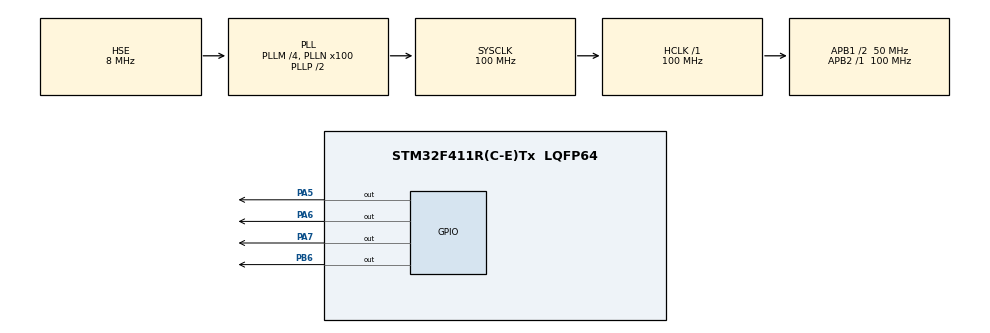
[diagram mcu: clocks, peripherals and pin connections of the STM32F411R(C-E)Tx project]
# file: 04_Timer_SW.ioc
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Mcu.Family=STM32F4
Mcu.Name=STM32F411R(C-E)Tx
Mcu.Package=LQFP64
NVIC.PriorityGroup=NVIC_PRIORITYGROUP_4
PA13.Mode=Serial_Wire
PA13.Signal=SYS_JTMS-SWDIO
PA14.Mode=Serial_Wire
PA14.Signal=SYS_JTCK-SWCLK
PA5.Signal=GPIO_Output
PA6.Signal=GPIO_Output
PA7.Signal=GPIO_Output
PB6.Signal=GPIO_Output
PH0\ -\ OSC_IN.Mode=HSE-External-Oscillator
PH0\ -\ OSC_IN.Signal=RCC_OSC_IN
PH1\ -\ OSC_OUT.Mode=HSE-External-Oscillator
PH1\ -\ OSC_OUT.Signal=RCC_OSC_OUT
ProjectManager.HeapSize=0x200
ProjectManager.StackSize=0x400
ProjectManager.TargetToolchain=STM32CubeIDE
RCC.48MHZClocksFreq_Value=50000000
RCC.AHBFreq_Value=100000000
RCC.APB1CLKDivider=RCC_HCLK_DIV2
RCC.APB1Freq_Value=50000000
RCC.APB1TimFreq_Value=100000000
RCC.APB2Freq_Value=100000000
RCC.APB2TimFreq_Value=100000000
RCC.CortexFreq_Value=100000000
RCC.HCLKFreq_Value=100000000
RCC.HSE_VALUE=8000000
RCC.HSI_VALUE=16000000
RCC.LSE_VALUE=32768
RCC.PLLM=4
RCC.PLLN=100
RCC.PLLSourceVirtual=RCC_PLLSOURCE_HSE
RCC.SYSCLKFreq_VALUE=100000000
RCC.SYSCLKSource=RCC_SYSCLKSOURCE_PLLCLK
RCC.VCOOutputFreq_Value=200000000
board=custom

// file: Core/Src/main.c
/* USER CODE BEGIN Header */
/**
  ******************************************************************************
  * @file           : main.c
  * @brief          : Main program body
  ******************************************************************************
  * @attention
  *
  * Copyright (c) 2025 STMicroelectronics.
  * All rights reserved.
  *
  * This software is licensed under terms that can be found in the LICENSE file
  * in the root directory of this software component.
  * If no LICENSE file comes with this software, it is provided AS-IS.
  *
  ******************************************************************************
  */
/* USER CODE END Header */
#include "main.h"
#include "gpio.h"

/* USER CODE BEGIN Includes */

#include "sw_timer.h"

/* USER CODE END Includes */

void SystemClock_Config(void);

int main(void)
{

  /* MCU Configuration--------------------------------------------------------*/

  /* Reset of all peripherals, Initializes the Flash interface and the Systick. */
  HAL_Init();

  /* Configure the system clock */
  SystemClock_Config();

  /* Initialize all configured peripherals */
  MX_GPIO_Init();
  /* USER CODE BEGIN 2 */

  softTimer_Init(swTimerID1, 500);    // 500ms
  softTimer_Init(swTimerID2, 1000);   // 1000ms
  softTimer_Init(swTimerID3, 1500);   // 1500ms
  softTimer_Init(swTimerID4, 2000);   // 2000ms

  /* USER CODE END 2 */

  /* Infinite loop */
  /* USER CODE BEGIN WHILE */
  while (1)
  {
    // led1 control
    if(softTimer_IsTimeOut(swTimerID1) == SET)
    {
      HAL_GPIO_TogglePin(GPIOA, GPIO_PIN_5);  // LED1 토글
      softTimer_Reset(swTimerID1);            // 타이머 리셋
    }
    // led2 control
    if(softTimer_IsTimeOut(swTimerID2) == SET)
    {
      HAL_GPIO_TogglePin(GPIOA, GPIO_PIN_6);  // LED1 토글
      softTimer_Reset(swTimerID2);            // 타이머 리셋
    }
    // led3 control
    if(softTimer_IsTimeOut(swTimerID3) == SET)
    {
      HAL_GPIO_TogglePin(GPIOA, GPIO_PIN_7);  // LED1 토글
      softTimer_Reset(swTimerID3);            // 타이머 리셋
    }
    // led4 control
    if(softTimer_IsTimeOut(swTimerID4) == SET)
    {
      HAL_GPIO_TogglePin(GPIOB, GPIO_PIN_6);  // LED1 토글
      softTimer_Reset(swTimerID4);            // 타이머 리셋
    }

    /* USER CODE END WHILE */

  }
}

void SystemClock_Config(void)
{
  RCC_OscInitTypeDef RCC_OscInitStruct = {0};
  RCC_ClkInitTypeDef RCC_ClkInitStruct = {0};

  /** Configure the main internal regulator output voltage
  */
  __HAL_RCC_PWR_CLK_ENABLE();
  __HAL_PWR_VOLTAGESCALING_CONFIG(PWR_REGULATOR_VOLTAGE_SCALE1);

  /** Initializes the RCC Oscillators according to the specified parameters
  * in the RCC_OscInitTypeDef structure.
  */
  RCC_OscInitStruct.OscillatorType = RCC_OSCILLATORTYPE_HSE;
  RCC_OscInitStruct.HSEState = RCC_HSE_ON;
  RCC_OscInitStruct.PLL.PLLState = RCC_PLL_ON;
  RCC_OscInitStruct.PLL.PLLSource = RCC_PLLSOURCE_HSE;
  RCC_OscInitStruct.PLL.PLLM = 4;
  RCC_OscInitStruct.PLL.PLLN = 100;
  RCC_OscInitStruct.PLL.PLLP = RCC_PLLP_DIV2;
  RCC_OscInitStruct.PLL.PLLQ = 4;
  if (HAL_RCC_OscConfig(&RCC_OscInitStruct) != HAL_OK)
  {
    Error_Handler();
  }

  /** Initializes the CPU, AHB and APB buses clocks
  */
  RCC_ClkInitStruct.ClockType = RCC_CLOCKTYPE_HCLK|RCC_CLOCKTYPE_SYSCLK
                              |RCC_CLOCKTYPE_PCLK1|RCC_CLOCKTYPE_PCLK2;
  RCC_ClkInitStruct.SYSCLKSource = RCC_SYSCLKSOURCE_PLLCLK;
  RCC_ClkInitStruct.AHBCLKDivider = RCC_SYSCLK_DIV1;
  RCC_ClkInitStruct.APB1CLKDivider = RCC_HCLK_DIV2;
  RCC_ClkInitStruct.APB2CLKDivider = RCC_HCLK_DIV1;

  if (HAL_RCC_ClockConfig(&RCC_ClkInitStruct, FLASH_LATENCY_3) != HAL_OK)
  {
    Error_Handler();
  }
}

void Error_Handler(void)
{
  __disable_irq();
  while (1)
  {
  }
}
